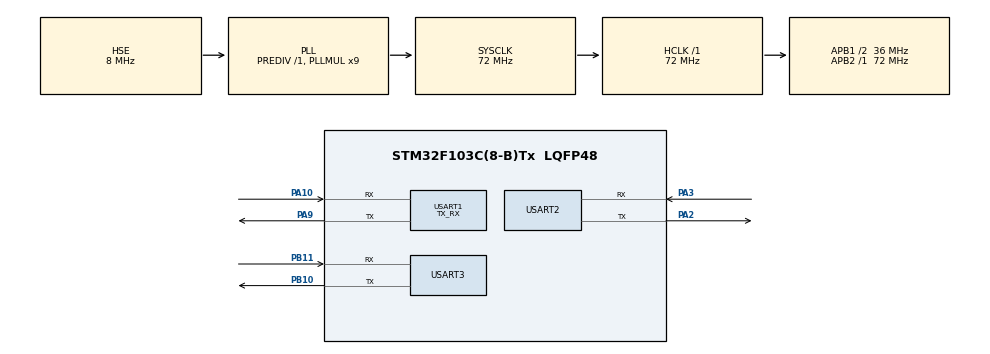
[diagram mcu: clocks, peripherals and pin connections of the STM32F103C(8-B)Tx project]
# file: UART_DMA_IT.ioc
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Dma.Request0=USART3_TX
Dma.USART3_TX.0.Direction=DMA_MEMORY_TO_PERIPH
Dma.USART3_TX.0.Instance=DMA1_Channel2
Dma.USART3_TX.0.MemDataAlignment=DMA_MDATAALIGN_BYTE
Dma.USART3_TX.0.MemInc=DMA_MINC_ENABLE
Dma.USART3_TX.0.Mode=DMA_NORMAL
Dma.USART3_TX.0.PeriphDataAlignment=DMA_PDATAALIGN_BYTE
Dma.USART3_TX.0.PeriphInc=DMA_PINC_DISABLE
Dma.USART3_TX.0.Priority=DMA_PRIORITY_LOW
Mcu.Family=STM32F1
Mcu.Name=STM32F103C(8-B)Tx
Mcu.Package=LQFP48
NVIC.DMA1_Channel2_IRQn=true\:0\:0\:false\:false\:true\:false\:true\:true
NVIC.PriorityGroup=NVIC_PRIORITYGROUP_4
NVIC.USART2_IRQn=true\:0\:0\:false\:false\:true\:true\:true\:true
PA10.Mode=Asynchronous
PA10.Signal=USART1_RX
PA13.Mode=Serial_Wire
PA13.Signal=SYS_JTMS-SWDIO
PA14.Mode=Serial_Wire
PA14.Signal=SYS_JTCK-SWCLK
PA2.Mode=Asynchronous
PA2.Signal=USART2_TX
PA3.Mode=Asynchronous
PA3.Signal=USART2_RX
PA9.Mode=Asynchronous
PA9.Signal=USART1_TX
PB10.Mode=Asynchronous
PB10.Signal=USART3_TX
PB11.Mode=Asynchronous
PB11.Signal=USART3_RX
PD0-OSC_IN.Mode=HSE-External-Oscillator
PD0-OSC_IN.Signal=RCC_OSC_IN
PD1-OSC_OUT.Mode=HSE-External-Oscillator
PD1-OSC_OUT.Signal=RCC_OSC_OUT
ProjectManager.HeapSize=0x200
ProjectManager.StackSize=0x400
ProjectManager.TargetToolchain=STM32CubeIDE
RCC.AHBFreq_Value=72000000
RCC.APB1CLKDivider=RCC_HCLK_DIV2
RCC.APB1Freq_Value=36000000
RCC.APB1TimFreq_Value=72000000
RCC.APB2Freq_Value=72000000
RCC.APB2TimFreq_Value=72000000
RCC.HCLKFreq_Value=72000000
RCC.PLLMUL=RCC_PLL_MUL9
RCC.PLLSourceVirtual=RCC_PLLSOURCE_HSE
RCC.SYSCLKFreq_VALUE=72000000
RCC.SYSCLKSource=RCC_SYSCLKSOURCE_PLLCLK
RCC.USBFreq_Value=72000000
USART1.Mode=MODE_TX_RX
USART1.VirtualMode=VM_ASYNC
USART2.VirtualMode=VM_ASYNC
USART3.VirtualMode=VM_ASYNC
board=custom

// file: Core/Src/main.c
/* USER CODE BEGIN Header */
/**
 ******************************************************************************
 * @file           : main.c
 * @brief          : Main program body
 ******************************************************************************
 * @attention
 *
 * Copyright (c) 2024 STMicroelectronics.
 * All rights reserved.
 *
 * This software is licensed under terms that can be found in the LICENSE file
 * in the root directory of this software component.
 * If no LICENSE file comes with this software, it is provided AS-IS.
 *
 ******************************************************************************
 */
/* USER CODE END Header */
#include "main.h"

/* USER CODE BEGIN Includes */
#include <stdio.h>
/* USER CODE END Includes */

UART_HandleTypeDef huart1;
UART_HandleTypeDef huart2;
UART_HandleTypeDef huart3;
DMA_HandleTypeDef hdma_usart3_tx;

/* USER CODE BEGIN PV */
uint8_t tx_buffer[] = "Hello World\n\r";
unsigned long T;
uint8_t queue = 1;
/* USER CODE END PV */

void SystemClock_Config(void);
static void MX_GPIO_Init(void);
static void MX_DMA_Init(void);
static void MX_USART1_UART_Init(void);
static void MX_USART2_UART_Init(void);
static void MX_USART3_UART_Init(void);
/* USER CODE BEGIN PFP */
void TX_UART_1(uint8_t *tx, size_t size);
void TX_UART_TI(uint8_t *tx, size_t size);
void TX_UART_DMA(uint8_t *tx, size_t size);
/* USER CODE END PFP */

int main(void) {

	/* MCU Configuration--------------------------------------------------------*/

	/* Reset of all peripherals, Initializes the Flash interface and the Systick. */
	HAL_Init();

	/* Configure the system clock */
	SystemClock_Config();

	/* Initialize all configured peripherals */
	MX_GPIO_Init();
	MX_DMA_Init();
	MX_USART1_UART_Init();
	MX_USART2_UART_Init();
	MX_USART3_UART_Init();
	/* USER CODE BEGIN 2 */
	T = HAL_GetTick();
	/* USER CODE END 2 */

	/* Infinite loop */
	while (1) {

		/* USER CODE BEGIN 3 */
		TX_UART_1(tx_buffer, sizeof(tx_buffer) / sizeof(tx_buffer[0]));
		TX_UART_TI(tx_buffer, sizeof(tx_buffer) / sizeof(tx_buffer[0]));
		TX_UART_DMA(tx_buffer, sizeof(tx_buffer) / sizeof(tx_buffer[0]));

	}
	/* USER CODE END 3 */
}

void SystemClock_Config(void) {
	RCC_OscInitTypeDef RCC_OscInitStruct = { 0 };
	RCC_ClkInitTypeDef RCC_ClkInitStruct = { 0 };

	/** Initializes the RCC Oscillators according to the specified parameters
	 * in the RCC_OscInitTypeDef structure.
	 */
	RCC_OscInitStruct.OscillatorType = RCC_OSCILLATORTYPE_HSE;
	RCC_OscInitStruct.HSEState = RCC_HSE_ON;
	RCC_OscInitStruct.HSEPredivValue = RCC_HSE_PREDIV_DIV1;
	RCC_OscInitStruct.HSIState = RCC_HSI_ON;
	RCC_OscInitStruct.PLL.PLLState = RCC_PLL_ON;
	RCC_OscInitStruct.PLL.PLLSource = RCC_PLLSOURCE_HSE;
	RCC_OscInitStruct.PLL.PLLMUL = RCC_PLL_MUL9;
	if (HAL_RCC_OscConfig(&RCC_OscInitStruct) != HAL_OK) {
		Error_Handler();
	}

	/** Initializes the CPU, AHB and APB buses clocks
	 */
	RCC_ClkInitStruct.ClockType = RCC_CLOCKTYPE_HCLK | RCC_CLOCKTYPE_SYSCLK
			| RCC_CLOCKTYPE_PCLK1 | RCC_CLOCKTYPE_PCLK2;
	RCC_ClkInitStruct.SYSCLKSource = RCC_SYSCLKSOURCE_PLLCLK;
	RCC_ClkInitStruct.AHBCLKDivider = RCC_SYSCLK_DIV1;
	RCC_ClkInitStruct.APB1CLKDivider = RCC_HCLK_DIV2;
	RCC_ClkInitStruct.APB2CLKDivider = RCC_HCLK_DIV1;

	if (HAL_RCC_ClockConfig(&RCC_ClkInitStruct, FLASH_LATENCY_2) != HAL_OK) {
		Error_Handler();
	}
}

static void MX_USART1_UART_Init(void) {

	huart1.Instance = USART1;
	huart1.Init.BaudRate = 115200;
	huart1.Init.WordLength = UART_WORDLENGTH_8B;
	huart1.Init.StopBits = UART_STOPBITS_1;
	huart1.Init.Parity = UART_PARITY_NONE;
	huart1.Init.Mode = UART_MODE_TX_RX;
	huart1.Init.HwFlowCtl = UART_HWCONTROL_NONE;
	huart1.Init.OverSampling = UART_OVERSAMPLING_16;
	if (HAL_UART_Init(&huart1) != HAL_OK) {
		Error_Handler();
	}

}

static void MX_USART2_UART_Init(void) {

	huart2.Instance = USART2;
	huart2.Init.BaudRate = 115200;
	huart2.Init.WordLength = UART_WORDLENGTH_8B;
	huart2.Init.StopBits = UART_STOPBITS_1;
	huart2.Init.Parity = UART_PARITY_NONE;
	huart2.Init.Mode = UART_MODE_TX_RX;
	huart2.Init.HwFlowCtl = UART_HWCONTROL_NONE;
	huart2.Init.OverSampling = UART_OVERSAMPLING_16;
	if (HAL_UART_Init(&huart2) != HAL_OK) {
		Error_Handler();
	}

}

static void MX_USART3_UART_Init(void) {

	huart3.Instance = USART3;
	huart3.Init.BaudRate = 115200;
	huart3.Init.WordLength = UART_WORDLENGTH_8B;
	huart3.Init.StopBits = UART_STOPBITS_1;
	huart3.Init.Parity = UART_PARITY_NONE;
	huart3.Init.Mode = UART_MODE_TX_RX;
	huart3.Init.HwFlowCtl = UART_HWCONTROL_NONE;
	huart3.Init.OverSampling = UART_OVERSAMPLING_16;
	if (HAL_UART_Init(&huart3) != HAL_OK) {
		Error_Handler();
	}

}

static void MX_DMA_Init(void) {

	/* DMA controller clock enable */
	__HAL_RCC_DMA1_CLK_ENABLE();

	/* DMA interrupt init */
	/* DMA1_Channel2_IRQn interrupt configuration */
	HAL_NVIC_SetPriority(DMA1_Channel2_IRQn, 0, 0);
	HAL_NVIC_EnableIRQ(DMA1_Channel2_IRQn);

}

static void MX_GPIO_Init(void) {

	/* GPIO Ports Clock Enable */
	__HAL_RCC_GPIOD_CLK_ENABLE();
	__HAL_RCC_GPIOA_CLK_ENABLE();
	__HAL_RCC_GPIOB_CLK_ENABLE();

}

/* USER CODE BEGIN 4 */
void TX_UART_1(uint8_t *tx, size_t size) {
	if (HAL_GetTick() - T >= 1000) {
		T = HAL_GetTick();
		HAL_UART_Transmit(&huart1, tx, size,
		HAL_MAX_DELAY);

	}
}

void TX_UART_TI(uint8_t *tx, size_t size) {
	if (HAL_GetTick() - T <= 1000 && queue != 255) {
		T = HAL_GetTick();
		if (queue == 1 && huart2.gState != HAL_UART_STATE_BUSY_TX) {
			HAL_UART_Transmit_IT(&huart2, tx, size);
			queue = 2;
		}
	} else if (queue == 2 && huart2.gState != HAL_UART_STATE_BUSY_TX) {
		HAL_UART_Transmit_IT(&huart3, tx, size);
		queue = 255;
	} else if (HAL_GetTick() - T >= 1000 && queue == 255) {
		T = HAL_GetTick();
		queue = 1;
	}
}

void TX_UART_DMA(uint8_t *tx, size_t size) {
	if (HAL_GetTick() - T <= 1000 && queue != 255) {
		T = HAL_GetTick();
		if (queue == 1 && huart2.gState != HAL_UART_STATE_BUSY_TX) {
			HAL_UART_Transmit_DMA(&huart2, tx, size);
			queue = 2;
		}
	} else if (queue == 2 && huart2.gState != HAL_UART_STATE_BUSY_TX) {
		HAL_UART_Transmit_DMA(&huart3, tx, size);
		queue = 255;
	} else if (HAL_GetTick() - T >= 1000 && queue == 255) {
		T = HAL_GetTick();
		queue = 1;
	}
}
/* USER CODE END 4 */

void Error_Handler(void) {
	__disable_irq();
	while (1) {
	}
}
